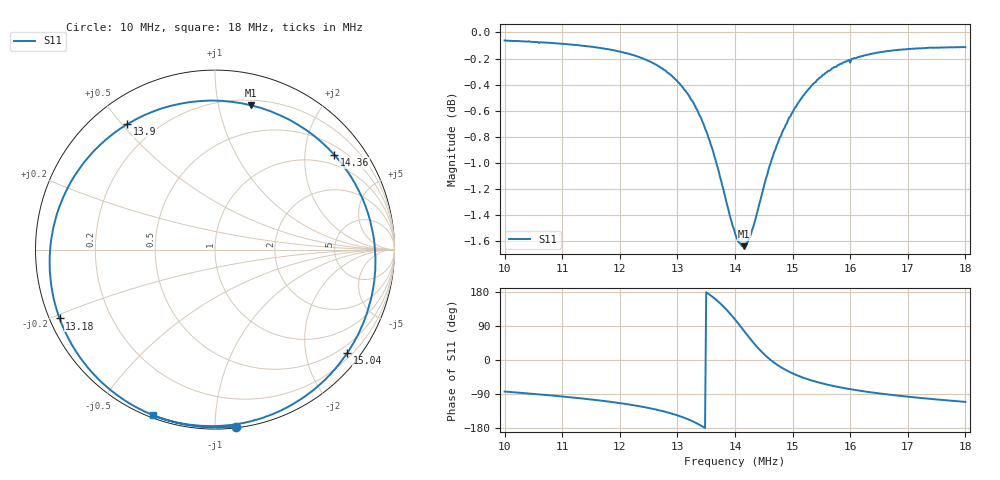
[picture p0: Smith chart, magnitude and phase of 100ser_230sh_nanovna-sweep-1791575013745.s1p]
! NanoVNA Web complex sweep
! Processing: original sample grid, no browser smoothing
# Hz S RI R 50
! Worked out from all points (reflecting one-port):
!   401 points, 10 MHz to 18 MHz, reference 50 ohm
!   lowest |S11| = -1.6 dB at 14.16 MHz (marker M1), VSWR 10.65, Z = 12.2 + j62.5 ohm
!   phase of S11 starts at -83 deg and turns -387 deg over the sweep
!   S11 on the Smith chart (normalised r, x): 10 MHz: 0.01, -1.13; 13.18 MHz: 0.03, -0.21; 13.9 MHz: 0.10, +0.52; 14.36 MHz: 0.71, +2.70; 15.04 MHz: 0.31, -2.87; 18 MHz: 0.01, -0.69
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1e7  0.1165 -0.9861
1.1e7  -0.1078 -0.9841
1.2e7  -0.3956 -0.9002
1.258e7  -0.6139 -0.7553
1.28e7  -0.7079 -0.6584
1.3e7  -0.7946 -0.535
1.318e7  -0.8663 -0.3833
1.342e7  -0.921 -0.0967
1.36e7  -0.8829 0.1909
1.376e7  -0.7363 0.4772
1.39e7  -0.488 0.6992
1.4e7  -0.2446 0.8014
1.408e7  -0.023 0.8305
1.416e7  0.2005 0.8037
1.426e7  0.4586 0.6978
1.436e7  0.6646 0.5285
1.448e7  0.8224 0.2831
1.462e7  0.8913 -0.00104
1.48e7  0.8617 -0.3016
1.5e7  0.7606 -0.5388
1.504e7  0.7367 -0.5771
1.522e7  0.6275 -0.7105
1.544e7  0.497 -0.8207
1.57e7  0.3586 -0.9002
1.6e7  0.2199 -0.9485
1.646e7  0.0463 -0.9811
1.7e7  -0.1169 -0.9784
1.8e7  -0.3468 -0.9242
